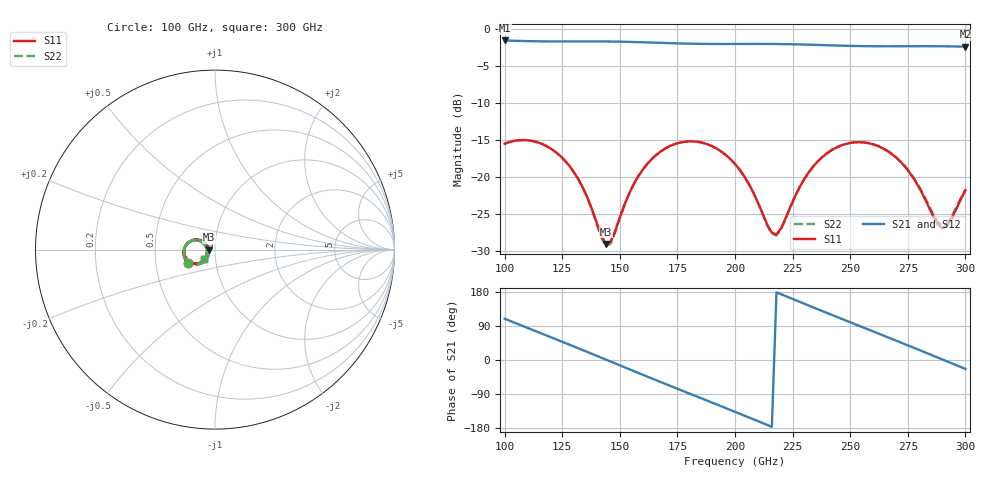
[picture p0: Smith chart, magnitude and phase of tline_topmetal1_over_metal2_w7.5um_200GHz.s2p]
#  GHZ S DB R 50
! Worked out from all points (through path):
!   101 points, 100 GHz to 300 GHz, reference 50 ohm
!   highest |S21| = -1.61 dB at 100 GHz (marker M1); lowest = -2.4 dB at 300 GHz (marker M2)
!   group delay of S21, straight-line fit = 6.84 ps
!   lowest |S11| = -29.0 dB at 144 GHz (marker M3), VSWR 1.07, Z = 46.6 - j0.073 ohm
!   |S11| at or under -10 dB: start of sweep to end of sweep
!   |S22| runs from -29.3 to -15.0 dB; largest |S21 - S12| = 1.4e-13
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100  -15.51 -153.6  -1.61 109.0  -1.61 109.0  -15.51 -153.7
108  -15.01 -170.2  -1.68 89.5  -1.68 89.5  -15.01 -170.3
116  -15.51 173.5  -1.73 70.0  -1.73 70.0  -15.51 173.4
126  -17.72 155.1  -1.74 45.6  -1.74 45.6  -17.74 154.8
134  -21.45 145.9  -1.73 25.9  -1.73 25.9  -21.49 145.4
144  -29.01 -178.7  -1.74 1.0  -1.74 1.0  -29.30 -178.7
146  -28.71 -159.3  -1.75 -4.0  -1.75 -4.0  -28.97 -158.4
158  -19.90 -133.6  -1.83 -34.0  -1.83 -34.0  -19.92 -132.7
168  -16.49 -148.7  -1.93 -58.7  -1.93 -58.7  -16.49 -148.1
176  -15.36 -163.7  -2.01 -78.3  -2.01 -78.3  -15.36 -163.1
184  -15.26 -179.1  -2.06 -97.8  -2.06 -97.8  -15.26 -178.5
200  -18.23 153.5  -2.08 -136.8  -2.08 -136.8  -18.24 153.8
210  -23.45 149.6  -2.07 -161.5  -2.07 -161.5  -23.50 149.9
218  -27.71 -169.4  -2.09 178.6  -2.09 178.6  -27.85 -168.5
226  -22.63 -136.9  -2.13 158.6  -2.13 158.6  -22.65 -135.7
234  -18.56 -140.9  -2.20 138.8  -2.20 138.8  -18.55 -139.8
244  -16.02 -156.5  -2.29 114.2  -2.29 114.2  -16.01 -155.4
252  -15.33 -170.9  -2.35 94.7  -2.35 94.7  -15.31 -169.8
268  -16.88 161.1  -2.39 55.8  -2.39 55.8  -16.84 162.4
280  -21.46 149.8  -2.38 26.3  -2.38 26.3  -21.35 151.5
290  -26.91 -176.6  -2.39 1.5  -2.39 1.5  -26.55 -175.9
300  -21.77 -139.2  -2.44 -23.5  -2.44 -23.5  -21.66 -139.6
